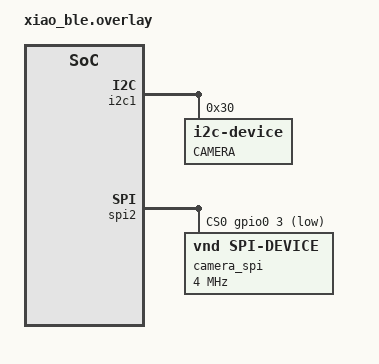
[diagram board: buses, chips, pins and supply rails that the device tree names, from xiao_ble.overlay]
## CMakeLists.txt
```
# SPDX-License-Identifier: Apache-2.0

cmake_minimum_required(VERSION 3.20.0)
find_package(Zephyr REQUIRED HINTS $ENV{ZEPHYR_BASE})
project(nrf52840_nordic)
enable_language(C ASM)

target_sources(app PRIVATE
    src/main.c
    src/transport.c
    src/mic.c
    src/led.c
    src/audio.c
    src/codec.c
    src/camera.c
    src/controls.c
    src/battery.c
    src/settings.c
    src/opus-1.2.1/A2NLSF.c
    src/opus-1.2.1/CNG.c
    src/opus-1.2.1/HP_variable_cutoff.c
    src/opus-1.2.1/LPC_analysis_filter.c
    src/opus-1.2.1/LPC_fit.c
    src/opus-1.2.1/LPC_inv_pred_gain.c
    src/opus-1.2.1/LP_variable_cutoff.c
    src/opus-1.2.1/LTP_analysis_filter_FIX.c
    src/opus-1.2.1/LTP_scale_ctrl_FIX.c
    src/opus-1.2.1/NLSF2A.c
    src/opus-1.2.1/NLSF_VQ.c
    src/opus-1.2.1/NLSF_VQ_weights_laroia.c
    src/opus-1.2.1/NLSF_decode.c
    src/opus-1.2.1/NLSF_del_dec_quant.c
    src/opus-1.2.1/NLSF_encode.c
    src/opus-1.2.1/NLSF_stabilize.c
    src/opus-1.2.1/NLSF_unpack.c
    src/opus-1.2.1/NSQ.c
    src/opus-1.2.1/NSQ_del_dec.c
    src/opus-1.2.1/PLC.c
    src/opus-1.2.1/VAD.c
    src/opus-1.2.1/VQ_WMat_EC.c
    src/opus-1.2.1/ana_filt_bank_1.c
    src/opus-1.2.1/analysis.c
    src/opus-1.2.1/apply_sine_window_FIX.c
    src/opus-1.2.1/autocorr_FIX.c
    src/opus-1.2.1/bands.c
    src/opus-1.2.1/biquad_alt.c
    src/opus-1.2.1/burg_modified_FIX.c
    src/opus-1.2.1/bwexpander.c
    src/opus-1.2.1/bwexpander_32.c
    src/opus-1.2.1/celt.c
    src/opus-1.2.1/celt_decoder.c
    src/opus-1.2.1/celt_encoder.c
    src/opus-1.2.1/celt_lpc.c
    src/opus-1.2.1/arm/celt_pitch_xcorr_arm_gcc.s
    src/opus-1.2.1/check_control_input.c
    src/opus-1.2.1/code_signs.c
    src/opus-1.2.1/control_SNR.c
    src/opus-1.2.1/control_audio_bandwidth.c
    src/opus-1.2.1/control_codec.c
    src/opus-1.2.1/corrMatrix_FIX.c
    src/opus-1.2.1/cwrs.c
    src/opus-1.2.1/debug.c
    src/opus-1.2.1/dec_API.c
    src/opus-1.2.1/decode_core.c
    src/opus-1.2.1/decode_frame.c
    src/opus-1.2.1/decode_indices.c
    src/opus-1.2.1/decode_parameters.c
    src/opus-1.2.1/decode_pitch.c
    src/opus-1.2.1/decode_pulses.c
    src/opus-1.2.1/decoder_set_fs.c
    src/opus-1.2.1/enc_API.c
    src/opus-1.2.1/encode_frame_FIX.c
    src/opus-1.2.1/encode_indices.c
    src/opus-1.2.1/encode_pulses.c
    src/opus-1.2.1/entcode.c
    src/opus-1.2.1/entdec.c
    src/opus-1.2.1/entenc.c
    src/opus-1.2.1/find_LPC_FIX.c
    src/opus-1.2.1/find_LTP_FIX.c
    src/opus-1.2.1/find_pitch_lags_FIX.c
    src/opus-1.2.1/find_pred_coefs_FIX.c
    src/opus-1.2.1/gain_quant.c
    src/opus-1.2.1/init_decoder.c
    src/opus-1.2.1/init_encoder.c
    src/opus-1.2.1/inner_prod_aligned.c
    src/opus-1.2.1/interpolate.c
    src/opus-1.2.1/k2a_FIX.c
    src/opus-1.2.1/k2a_Q16_FIX.c
    src/opus-1.2.1/kiss_fft.c
    src/opus-1.2.1/laplace.c
    src/opus-1.2.1/lin2log.c
    src/opus-1.2.1/log2lin.c
    src/opus-1.2.1/mathops.c
    src/opus-1.2.1/mdct.c
    src/opus-1.2.1/mlp.c
    src/opus-1.2.1/mlp_data.c
    src/opus-1.2.1/modes.c
    src/opus-1.2.1/noise_shape_analysis_FIX.c
    src/opus-1.2.1/opus.c
    src/opus-1.2.1/opus_decoder.c
    src/opus-1.2.1/opus_encoder.c
    src/opus-1.2.1/opus_multistream.c
    src/opus-1.2.1/opus_multistream_decoder.c
    src/opus-1.2.1/opus_multistream_encoder.c
    src/opus-1.2.1/pitch.c
    src/opus-1.2.1/pitch_analysis_core_FIX.c
    src/opus-1.2.1/pitch_est_tables.c
    src/opus-1.2.1/process_NLSFs.c
    src/opus-1.2.1/process_gains_FIX.c
    src/opus-1.2.1/quant_LTP_gains.c
    src/opus-1.2.1/quant_bands.c
    src/opus-1.2.1/rate.c
    src/opus-1.2.1/regularize_correlations_FIX.c
    src/opus-1.2.1/repacketizer.c
    src/opus-1.2.1/resampler.c
    src/opus-1.2.1/resampler_down2.c
    src/opus-1.2.1/resampler_down2_3.c
    src/opus-1.2.1/resampler_private_AR2.c
    src/opus-1.2.1/resampler_private_IIR_FIR.c
    src/opus-1.2.1/resampler_private_down_FIR.c
    src/opus-1.2.1/resampler_private_up2_HQ.c
    src/opus-1.2.1/resampler_rom.c
    src/opus-1.2.1/residual_energy16_FIX.c
    src/opus-1.2.1/residual_energy_FIX.c
    src/opus-1.2.1/schur64_FIX.c
    src/opus-1.2.1/schur_FIX.c
    src/opus-1.2.1/shell_coder.c
    src/opus-1.2.1/sigm_Q15.c
    src/opus-1.2.1/sort.c
    src/opus-1.2.1/stereo_LR_to_MS.c
    src/opus-1.2.1/stereo_MS_to_LR.c
    src/opus-1.2.1/stereo_decode_pred.c
    src/opus-1.2.1/stereo_encode_pred.c
    src/opus-1.2.1/stereo_find_predictor.c
    src/opus-1.2.1/stereo_quant_pred.c
    src/opus-1.2.1/sum_sqr_shift.c
    src/opus-1.2.1/table_LSF_cos.c
    src/opus-1.2.1/tables_LTP.c
    src/opus-1.2.1/tables_NLSF_CB_NB_MB.c
    src/opus-1.2.1/tables_NLSF_CB_WB.c
    src/opus-1.2.1/tables_gain.c
    src/opus-1.2.1/tables_other.c
    src/opus-1.2.1/tables_pitch_lag.c
    src/opus-1.2.1/tables_pulses_per_block.c
    src/opus-1.2.1/vector_ops_FIX.c
    src/opus-1.2.1/vq.c
    src/opus-1.2.1/warped_autocorrelation_FIX.c
    src/opus-1.2.1/arm/celt_pitch_xcorr_arm_gcc.s
)

set(CMAKE_C_FLAGS "${CMAKE_C_FLAGS} -DARM_MATH_CM4")
# set(CMAKE_C_FLAGS "${CMAKE_C_FLAGS} -DVAR_ARRAYS")
set(CMAKE_C_FLAGS "${CMAKE_C_FLAGS} -DOPUS_ARM_ASM")
set(CMAKE_C_FLAGS "${CMAKE_C_FLAGS} -DOPUS_ARM_INLINE_ASM")
set(CMAKE_C_FLAGS "${CMAKE_C_FLAGS} -DOPUS_ARM_INLINE_EDSP")
set(CMAKE_C_FLAGS "${CMAKE_C_FLAGS} -DOPUS_ARM_INLINE_MEDIA")
set(CMAKE_C_FLAGS "${CMAKE_C_FLAGS} -DOPUS_ARM_MAY_HAVE_EDSP")
set(CMAKE_C_FLAGS "${CMAKE_C_FLAGS} -DOPUS_ARM_PRESUME_EDSP")
set(CMAKE_C_FLAGS "${CMAKE_C_FLAGS} -DOPUS_BUILD")
set(CMAKE_C_FLAGS "${CMAKE_C_FLAGS} -DUSE_ALLOCA")
set(CMAKE_C_FLAGS "${CMAKE_C_FLAGS} -DFIXED_POINT -DDISABLE_FLOAT_API")
set(CMAKE_C_FLAGS "${CMAKE_C_FLAGS} -DHAVE_CONFIG_H")
set(CMAKE_C_FLAGS "${CMAKE_C_FLAGS} -DHAVE_ALLOCA_H")
set(CMAKE_C_FLAGS "${CMAKE_C_FLAGS} -fsingle-precision-constant") # A lot of constants are written as doubles
set(CMAKE_C_FLAGS "${CMAKE_C_FLAGS} -DHAVE_LRINT -DHAVE_LRINTF")
```

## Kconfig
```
mainmenu "Bubble Firmware"

config BUBBLE_SOFT_BUTTON
    bool "Enable soft mute button"
    default y
    help
        Enable or disable soft mute button

source "Kconfig.zephyr"
```

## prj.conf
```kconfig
#
# Hardware settings
#

# Microphone
CONFIG_NRFX_PDM=y
CONFIG_ADC=y

# Watchdog
CONFIG_WATCHDOG=y
CONFIG_WDT_NRFX=y

# Storage
CONFIG_NVS=y
CONFIG_FLASH=y
CONFIG_FLASH_MAP=y
CONFIG_SETTINGS=y
CONFIG_SETTINGS_NVS=y
CONFIG_SETTINGS_RUNTIME=y

#
# Bluetooth settings
#

CONFIG_BT=y
CONFIG_BT_PERIPHERAL=y
CONFIG_BT_DEVICE_NAME="Bubble"
# This is important since our code assumes a single connection
CONFIG_BT_MAX_CONN=1
CONFIG_BT_MAX_PAIRED=1
CONFIG_BT_DEVICE_APPEARANCE=22
CONFIG_BT_GATT_DYNAMIC_DB=y

# Pairing
# CONFIG_BT_SMP=y

# Coded PHY (long range) doesnt work with Apple
# CONFIG_BT_CTLR_PHY_CODED=y
# CONFIG_BT_CTLR_CONN_PARAM_REQ=y

# Alternative BLE implementation
# CONFIG_BT_LL_SW_SPLIT=y

# MOAR POWER
CONFIG_BT_CTLR_TX_PWR_ANTENNA=8
CONFIG_BT_PHY_UPDATE=y

# Large packets
CONFIG_BT_L2CAP_TX_MTU=498
CONFIG_BT_L2CAP_TX_BUF_COUNT=10
CONFIG_BT_CONN_TX_MAX=30
CONFIG_BT_BUF_ACL_RX_SIZE=2048
CONFIG_BT_BUF_ACL_TX_SIZE=2048
CONFIG_BT_CTLR_DATA_LENGTH_MAX=251
CONFIG_BT_USER_DATA_LEN_UPDATE=y
CONFIG_BT_AUTO_DATA_LEN_UPDATE=y
CONFIG_BT_USER_PHY_UPDATE=y
CONFIG_BT_AUTO_PHY_UPDATE=y
CONFIG_BT_RX_STACK_SIZE=4096

# Codecs (not implemented)
# CONFIG_LIBLC3=y

# Camera
# CONFIG_I2C=y
# CONFIG_SPI=y

# Debug
# CONFIG_DEBUG=y
CONFIG_ASSERT=y # DO NOT DISABLE - will cause hard fault
# CONFIG_LOG=y
# CONFIG_LOG_PRINTK=y
# CONFIG_LOG_BUFFER_SIZE=4096
# CONFIG_LOG_PROCESS_THREAD_STACK_SIZE=4096
# CONFIG_LOG_MODE_IMMEDIATE=y

# Log Levels
# CONFIG_BT_DEBUG_LOG=y
# CONFIG_BT_L2CAP_LOG_LEVEL_DBG=y
# CONFIG_BT_LOG_LEVEL_DBG=y

# CONFIG_LOG_PROCESS_THREAD_STACK_SIZE=4096
# CONFIG_BT_CTLR_RX_PRIO_STACK_SIZE=4096
# CONFIG_BT_DEBUG_LOG=y
# CONFIG_LOG_BUFFER_SIZE=32000
# CONFIG_LOG_OVERRIDE_LEVEL=4
# CONFIG_LOG_PROCESS_THREAD_STACK_SIZE=4096
# CONFIG_BT_RX_STACK_SIZE=4096
# CONFIG_BT_CTLR_RX_PRIO_STACK_SIZE=4096

# RTT
# CONFIG_UART_CONSOLE=n
# CONFIG_SEGGER_RTT_BUFFER_SIZE_UP=2048
# CONFIG_RTT_CONSOLE=y
# CONFIG_LOG_BACKEND_RTT=y
```

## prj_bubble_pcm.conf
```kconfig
CONFIG_BT_DEVICE_NAME="Bubble"
CONFIG_BUBBLE_SOFT_BUTTON=y
```

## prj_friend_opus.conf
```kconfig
CONFIG_BT_DEVICE_NAME="Friend"
CONFIG_BUBBLE_SOFT_BUTTON=n
```

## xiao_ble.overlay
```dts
// To get started, press Ctrl+Space (or Option+Esc) to bring up the completion menu and view the available nodes.

// You can also use the buttons in the sidebar to perform actions on nodes.
// Actions currently available include:

// * Enabling / disabling the node
// * Adding the bus to a bus
// * Removing the node
// * Connecting ADC channels

// For more help, browse the DeviceTree documentation at https: //docs.zephyrproject.org/latest/guides/dts/index.html
// You can also visit the nRF DeviceTree extension documentation at https: //nrfconnect.github.io/vscode-nrf-connect/devicetree/nrfdevicetree.html
&i2c1 {
    camera: camera@30 {
        compatible = "i2c-device";
        reg = <0x30>;
        label = "CAMERA";
    };
};

&spi2 {
    cs-gpios = <&gpio0 3 GPIO_ACTIVE_LOW>, <&gpio0 28 GPIO_ACTIVE_LOW>;

    camera_spi: camera_spi_device@0 {
        status = "okay";
        compatible = "vnd,spi-device"; // https://devzone.nordicsemi.com/f/nordic-q-a/108613/yet-another-zephyr-devicetree-problem-this-time-with-spi-spi-max-frequency-amongst-others
        reg = <0>;
        spi-max-frequency = <4000000>;
    };
};
```

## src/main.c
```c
#include <zephyr/kernel.h>
#include <zephyr/drivers/watchdog.h>
#include <zephyr/drivers/gpio.h>
#include "transport.h"
#include "mic.h"
#include "utils.h"
#include "led.h"
#include "config.h"
#include "audio.h"
#include "codec.h"
#include "camera.h"
#include "controls.h"
#include "battery.h"
#include "settings.h"

// State
bool is_recording = false;
bool is_connected = false;
bool is_charging = false;
void refresh_state_indication();

//
// Transport callbacks
//

static void transport_subscribed()
{
	is_connected = true;
#ifndef ENABLE_BUTTON
	is_recording = true;
	mic_resume();
#endif
	refresh_state_indication();
}

static void transport_unsubscribed()
{
	is_connected = false;
#ifndef ENABLE_BUTTON
	is_recording = false;
	mic_pause();
#endif
	refresh_state_indication();
}

static struct transport_cb transport_callbacks = {
	.subscribed = transport_subscribed,
	.unsubscribed = transport_unsubscribed,
};

//
// Button
//

#ifdef ENABLE_BUTTON
static void on_button_pressed()
{
	is_recording = !is_recording;
	set_allowed(is_recording);
	settings_write_enable(is_recording);
	if (is_recording)
	{
		mic_resume();
	}
	else
	{
		mic_pause();
	}
	refresh_state_indication();
}
#endif

//
// Audio Pipeline
//

static void codec_handler(uint8_t *data, size_t len)
{
	broadcast_audio_packets(data, len); // Errors are logged inside
}

static void mic_handler(int16_t *buffer)
{
	codec_receive_pcm(buffer, MIC_BUFFER_SAMPLES); // Errors are logged inside
}

//
// LED indication
//

void refresh_state_indication()
{
	// Recording and connected state - BLUE
	if (is_recording && is_connected)
	{
		set_led_red(false);
		set_led_green(false);
		set_led_blue(true);
		return;
	}

	// Recording but lost connection - RED
	if (is_recording && !is_connected)
	{
		set_led_red(true);
		set_led_green(false);
		set_led_blue(false);
		return;
	}

	// Not recording, but charging - WHITE
	if (is_charging)
	{
		set_led_red(true);
		set_led_green(true);
		set_led_blue(true);
		return;
	}

	// Not recording - OFF
	set_led_red(false);
	set_led_green(false);
	set_led_blue(false);
}

//
// Main
//

int main(void)
{
	// Start watchdog
	int err;
	struct wdt_timeout_cfg wdt_config;
	const struct device *wdt_dev = DEVICE_DT_GET(DT_NODELABEL(wdt));
	wdt_config.flags = WDT_FLAG_RESET_SOC;
	wdt_config.window.min = 0;
	wdt_config.window.max = WDT_TIMEOUT_MS;
	wdt_config.callback = NULL; // Set to NULL to cause a system reset
	ASSERT_OK(wdt_install_timeout(wdt_dev, &wdt_config));
	ASSERT_OK(wdt_setup(wdt_dev, WDT_OPT_PAUSE_HALTED_BY_DBG));

	// Led start
	ASSERT_OK(led_start());

	// Settings start
	ASSERT_OK(settings_start());
#ifdef ENABLE_BUTTON
	is_recording = settings_read_enable();
#endif
	ASSERT_OK(wdt_feed(wdt_dev, 0));

	// Battery start
	ASSERT_OK(battery_start());
	ASSERT_OK(wdt_feed(wdt_dev, 0));

	// Camera start
#ifdef ENABLE_CAMERA
	ASSERT_OK(camera_start());
	ASSERT_OK(wdt_feed(wdt_dev, 0));
#endif

	// Transport start
	set_transport_callbacks(&transport_callbacks);
	ASSERT_OK(transport_start());
#ifndef ENABLE_BUTTON
	set_allowed(true);
#endif
	ASSERT_OK(wdt_feed(wdt_dev, 0));

	// Controls
#ifdef ENABLE_BUTTON
	set_button_handler(on_button_pressed);
	ASSERT_OK(start_controls());
#endif
	ASSERT_OK(wdt_feed(wdt_dev, 0));

	// Codec start
	set_codec_callback(codec_handler);
	ASSERT_OK(codec_start());
	ASSERT_OK(wdt_feed(wdt_dev, 0));

	// Mic start
	set_mic_callback(mic_handler);
	ASSERT_OK(mic_start());
#ifdef ENABLE_BUTTON
	if (is_recording)
	{
		mic_resume();
	}
#endif
	ASSERT_OK(wdt_feed(wdt_dev, 0));

	// Set LED
	is_charging = is_battery_charging();
	refresh_state_indication();
	ASSERT_OK(wdt_feed(wdt_dev, 0));

	// Main loop
	while (1)
	{
		// Wait wdt
		k_msleep(WDT_FEED_MS);

		// Watchdog
		ASSERT_OK(wdt_feed(wdt_dev, 0));

		// Update battery state
		bool charging = is_battery_charging();
		if (charging != is_charging)
		{
			is_charging = charging;
			refresh_state_indication();
		}
	}

	// Unreachable
	return 0;
}
```

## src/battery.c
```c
#include <zephyr/kernel.h>
#include <zephyr/drivers/gpio.h>
#include <zephyr/drivers/adc.h>
#include <zephyr/bluetooth/services/bas.h>
#import "battery.h"
#import "utils.h"

#define GPIO_BATTERY_CHARGING_STATUS 17
#define GPIO_BATTERY_CHARGE_SPEED 13
#define GPIO_BATTERY_READ_ENABLE 14

// ADC
static const struct device *adc_battery_dev = DEVICE_DT_GET(DT_NODELABEL(adc));
#define ADC_TOTAL_SAMPLES 10 // Change this to a higher number for better averages
int16_t sample_buffer[ADC_TOTAL_SAMPLES];
#define ADC_RESOLUTION 12
#define ADC_CHANNEL 7
#define ADC_PORT SAADC_CH_PSELP_PSELP_AnalogInput7 // AIN7
#define ADC_REFERENCE ADC_REF_INTERNAL             // 0.6V
#define ADC_GAIN ADC_GAIN_1_6                      // ADC REFERENCE * 6 = 3.6V
struct adc_channel_cfg channel_7_cfg = {
    .gain = ADC_GAIN,
    .reference = ADC_REFERENCE,
    .acquisition_time = ADC_ACQ_TIME_DEFAULT,
    .channel_id = ADC_CHANNEL,
    .input_positive = ADC_PORT};
static struct adc_sequence_options options = {
    .extra_samplings = ADC_TOTAL_SAMPLES - 1,
    .interval_us = 500, // Interval between each sample
};
struct adc_sequence sequence = {
    .options = &options,
    .channels = BIT(ADC_CHANNEL),
    .buffer = sample_buffer,
    .buffer_size = sizeof(sample_buffer),
    .resolution = ADC_RESOLUTION,
};

// Battery spec
typedef struct
{
    uint16_t voltage;
    uint8_t percentage;
} BatteryState;
#define BATTERY_STATES_COUNT 12
BatteryState battery_states[BATTERY_STATES_COUNT] = {
    {4185, 100},
    {4165, 99},
    {4090, 91},
    {4030, 78},
    {3890, 63},
    {3830, 53},
    {3680, 36},
    {3660, 35},
    {3480, 14},
    {3420, 11},
    {3150, 1}, // 3240
    {0000, 0}  // Below safe level
};

// Implementation

bool read_battery_charging()
{
    return gpio_pin_get(gpio0_port, GPIO_BATTERY_CHARGING_STATUS) == 1;
}

int read_battery_voltage()
{

    // Voltage divider circuit (Should tune R1 in software if possible)
    const uint16_t R1 = 1037; // Originally 1M ohm, calibrated after measuring actual voltage values. Can happen due to resistor tolerances, temperature ect..
    const uint16_t R2 = 510;  // 510K ohm

    // We need to stop charging to get a reading
    bool was_charging = read_battery_charging();
    if (was_charging)
    {
        ASSERT_OK(gpio_pin_configure(gpio0_port, GPIO_BATTERY_CHARGE_SPEED, GPIO_OUTPUT | GPIO_ACTIVE_HIGH));
        ASSERT_OK(gpio_pin_set(gpio0_port, GPIO_BATTERY_CHARGE_SPEED, 1));
    }

    // Read ADC
    ASSERT_OK(adc_read(adc_battery_dev, &sequence));

    // Average samples
    int adc_mv = 0;
    for (uint8_t sample = 0; sample < ADC_TOTAL_SAMPLES; sample++)
    {
        adc_mv += sample_buffer[sample]; // ADC value, not millivolt yet.
    }
    adc_mv /= ADC_TOTAL_SAMPLES;

    // Convert to millivolts
    uint16_t adc_vref = adc_ref_internal(adc_battery_dev);
    ASSERT_OK(adc_raw_to_millivolts(adc_vref, ADC_GAIN, ADC_RESOLUTION, &adc_mv));

    int output = adc_mv * ((R1 + R2) / R2);

    // Enable 50ma charging
    if (was_charging)
    {
        ASSERT_OK(gpio_pin_configure(gpio0_port, GPIO_BATTERY_CHARGE_SPEED, GPIO_INPUT));
    }

    return output;
}

int battery_milivolt_to_percent(uint16_t battery_millivolt)
{

    // Ensure voltage is within bounds
    if (battery_millivolt > battery_states[0].voltage)
        return 100;
    if (battery_millivolt < battery_states[BATTERY_STATES_COUNT - 1].voltage)
        return 0;

    for (uint16_t i = 0; i < BATTERY_STATES_COUNT - 1; i++)
    {
        // Find the two points battery_millivolt is between
        if (battery_states[i].voltage >= battery_millivolt && battery_millivolt >= battery_states[i + 1].voltage)
        {
            // Linear interpolation
            return battery_states[i].percentage +
                   ((float)(battery_millivolt - battery_states[i].voltage) *
                    ((float)(battery_states[i + 1].percentage - battery_states[i].percentage) /
                     (float)(battery_states[i + 1].voltage - battery_states[i].voltage)));
        }
    }

    return -ESPIPE;
}

//
// Worker
//

bool battery_status_charge = false;
int battery_voltage = 0;
int battery_percentage = 0;
int voltage_counter = 0;
void refresh_worker(struct k_work *work);
K_WORK_DELAYABLE_DEFINE(refresh_work, refresh_worker);

void refresh_worker(struct k_work *work)
{
    // Update battery status
    battery_status_charge = read_battery_charging();

    // Update battery voltage every 10 seconds
    if (voltage_counter % 10 == 0)
    {
        battery_voltage = read_battery_voltage();
        battery_percentage = battery_milivolt_to_percent(battery_voltage);
        bt_bas_set_battery_level(battery_percentage);
        voltage_counter = 0;
    }
    voltage_counter++;

    // Submit the work item again with a delay
    k_work_reschedule(&refresh_work, K_MSEC(1000)); // Delay of 1 second
}

//
// Public
//

int battery_start()
{

    // Configure ADC
    ASSERT_TRUE(device_is_ready(adc_battery_dev));
    ASSERT_OK(adc_channel_setup(adc_battery_dev, &channel_7_cfg));

    // Configure GPIO pins
    ASSERT_OK(gpio_pin_configure(gpio0_port, GPIO_BATTERY_CHARGING_STATUS, GPIO_INPUT | GPIO_ACTIVE_LOW | GPIO_PULL_UP));
    ASSERT_OK(gpio_pin_configure(gpio0_port, GPIO_BATTERY_READ_ENABLE, GPIO_OUTPUT | GPIO_ACTIVE_LOW));

    // ALlow batterty readings
    ASSERT_OK(gpio_pin_set(gpio0_port, GPIO_BATTERY_READ_ENABLE, 1));

    // Set 50ma charge current
    ASSERT_OK(gpio_pin_configure(gpio0_port, GPIO_BATTERY_CHARGE_SPEED, GPIO_INPUT));

    // Load init state
    battery_status_charge = read_battery_charging();
    battery_voltage = read_battery_voltage();
    battery_percentage = battery_milivolt_to_percent(battery_voltage);
    bt_bas_set_battery_level(battery_percentage);

    // Start worker
    k_work_schedule(&refresh_work, K_MSEC(1000));

    return 0;
}

bool is_battery_charging()
{
    return battery_status_charge;
}

int get_battery_voltage()
{
    return battery_voltage;
}

int get_battery_percentage()
{
    return battery_percentage;
}
```

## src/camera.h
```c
#ifndef CAMERA_H
#define CAMERA_H
#include <zephyr/kernel.h>
#include <zephyr/device.h>
#include <zephyr/drivers/spi.h>
#include <zephyr/drivers/i2c.h>

static const struct i2c_dt_spec camera_i2c_dev = I2C_DT_SPEC_GET(DT_NODELABEL(camera));
static const struct spi_dt_spec camera_spi_dev = SPI_DT_SPEC_GET(DT_NODELABEL(camera_spi), SPI_WORD_SET(8) | SPI_TRANSFER_MSB, 1);
static const struct device *gpio0_port = DEVICE_DT_GET(DT_NODELABEL(gpio0));
static const struct device *gpio1_port = DEVICE_DT_GET(DT_NODELABEL(gpio1));
// static const struct gpio_dt_spec camera_chip_select = GPIO_DT_SPEC_GET(DT_NODELABEL(camera_cs), gpios);

int camera_start(void);

int take_photo(void);
#endif
```

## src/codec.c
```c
#include <zephyr/sys/ring_buffer.h>
#include "codec.h"
#include "audio.h"
#include "config.h"
#include "utils.h"
#ifdef CODEC_OPUS
#include "opus-1.2.1/opus.h"
#endif

//
// Output
//

static volatile codec_callback _callback = NULL;

void set_codec_callback(codec_callback callback)
{
    _callback = callback;
}

//
// Input
//

uint8_t codec_ring_buffer_data[AUDIO_BUFFER_SAMPLES * 2]; // 2 bytes per sample
struct ring_buf codec_ring_buf;

int codec_receive_pcm(int16_t *data, size_t len)
{
    int written = ring_buf_put(&codec_ring_buf, (uint8_t *)data, len * 2);
    if (written != len * 2)
    {
        // printk("Failed to write %d bytes to codec ring buffer\n", len * 2);
        return -1;
    }
    return 0;
}

//
// Thread
//

int16_t codec_input_samples[CODEC_PACKAGE_SAMPLES];
uint8_t codec_output_bytes[CODEC_OUTPUT_MAX_BYTES];
K_THREAD_STACK_DEFINE(codec_stack, 32000);
static struct k_thread codec_thread;
uint16_t execute_codec();

#if CODEC_OPUS
#if (CONFIG_OPUS_MODE == CONFIG_OPUS_MODE_CELT)
#define OPUS_ENCODER_SIZE 7180
#endif
#if (CONFIG_OPUS_MODE == CONFIG_OPUS_MODE_HYBRID)
#define OPUS_ENCODER_SIZE 10916
#endif
__ALIGN(4)
static uint8_t m_opus_encoder[OPUS_ENCODER_SIZE];
static OpusEncoder *const m_opus_state = (OpusEncoder *)m_opus_encoder;
#endif

void codec_entry()
{
    uint16_t output_size;
    while (1)
    {

        // Check if we have enough data
        if (ring_buf_size_get(&codec_ring_buf) < CODEC_PACKAGE_SAMPLES * 2)
        {
            k_sleep(K_MSEC(10));
            continue;
        }

        // Read package
        ring_buf_get(&codec_ring_buf, (uint8_t *)codec_input_samples, CODEC_PACKAGE_SAMPLES * 2);

        // Run Codec
        output_size = execute_codec();

        // Notify
        if (_callback)
        {
            _callback(codec_output_bytes, output_size);
        }

        // Yield
        k_yield();
    }
}

int codec_start()
{
    
// OPUS
#if CODEC_OPUS
    ASSERT_TRUE(opus_encoder_get_size(1) == sizeof(m_opus_encoder));
    ASSERT_TRUE(opus_encoder_init(m_opus_state, 16000, 1, CODEC_OPUS_APPLICATION) == OPUS_OK);
    ASSERT_TRUE(opus_encoder_ctl(m_opus_state, OPUS_SET_BITRATE(CODEC_OPUS_BITRATE)) == OPUS_OK);
    ASSERT_TRUE(opus_encoder_ctl(m_opus_state, OPUS_SET_VBR(CODEC_OPUS_VBR)) == OPUS_OK);
    ASSERT_TRUE(opus_encoder_ctl(m_opus_state, OPUS_SET_VBR_CONSTRAINT(0)) == OPUS_OK);
    ASSERT_TRUE(opus_encoder_ctl(m_opus_state, OPUS_SET_COMPLEXITY(CODEC_OPUS_COMPLEXITY)) == OPUS_OK);
    ASSERT_TRUE(opus_encoder_ctl(m_opus_state, OPUS_SET_SIGNAL(OPUS_SIGNAL_VOICE)) == OPUS_OK);
    ASSERT_TRUE(opus_encoder_ctl(m_opus_state, OPUS_SET_LSB_DEPTH(16)) == OPUS_OK);
    ASSERT_TRUE(opus_encoder_ctl(m_opus_state, OPUS_SET_DTX(0)) == OPUS_OK);
    ASSERT_TRUE(opus_encoder_ctl(m_opus_state, OPUS_SET_INBAND_FEC(0)) == OPUS_OK);
    ASSERT_TRUE(opus_encoder_ctl(m_opus_state, OPUS_SET_PACKET_LOSS_PERC(0)) == OPUS_OK);
#endif

    // Thread
    ring_buf_init(&codec_ring_buf, sizeof(codec_ring_buffer_data), codec_ring_buffer_data);
    k_thread_create(&codec_thread, codec_stack, K_THREAD_STACK_SIZEOF(codec_stack), (k_thread_entry_t)codec_entry, NULL, NULL, NULL, K_PRIO_PREEMPT(4), 0, K_NO_WAIT);

    // Success
    return 0;
}

//
// MU-Law codec
//

#if CODEC_MU_LAW

uint16_t execute_codec()
{
    for (int i = 0; i < CODEC_PACKAGE_SAMPLES / CODEC_DIVIDER; i++)
    {
        codec_output_bytes[i] = linear2ulaw(codec_input_samples[i * CODEC_DIVIDER]);
    }
    return CODEC_PACKAGE_SAMPLES / CODEC_DIVIDER;
}

#endif

//
// PCM codec
//

#if CODEC_PCM

uint16_t execute_codec()
{
    for (int i = 0; i < CODEC_PACKAGE_SAMPLES / CODEC_DIVIDER; i++)
    {
        codec_output_bytes[i * 2] = codec_input_samples[i * CODEC_DIVIDER] & 0xFF;
        codec_output_bytes[i * 2 + 1] = (codec_input_samples[i * CODEC_DIVIDER] >> 8) & 0xFF;
    }
    return (CODEC_PACKAGE_SAMPLES / CODEC_DIVIDER) * 2;
}
#endif

//
// Opus codec
//

#if CODEC_OPUS

uint16_t execute_codec()
{
    opus_int32 size = opus_encode(m_opus_state, codec_input_samples, CODEC_PACKAGE_SAMPLES, codec_output_bytes, sizeof(codec_output_bytes));
    if (size < 0)
    {
        printk("Opus encoding failed: %d\n", size);
        return 0;
    }
    // printk("Opus encoding success: %i\n", size);
    return size;
}

#endif
```

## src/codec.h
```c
#pragma once
#include <zephyr/kernel.h>

void codec_receive_pcm(int16_t *data, size_t len);

int codec_start();
```

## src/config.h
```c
#include <haly/nrfy_gpio.h>

// Watchdog
#define WDT_TIMEOUT_MS 1000 // I want it to restart ASAP
#define WDT_FEED_MS 200

// #define SAMPLE_RATE 16000
#define MIC_GAIN 80
#define MIC_IRC_PRIORITY 7
#define MIC_BUFFER_SAMPLES 1600    // 100ms
#define AUDIO_BUFFER_SAMPLES 16000 // 1s
#define NETWORK_RING_BUF_SIZE 128   // number of frames * CODEC_OUTPUT_MAX_BYTES
#define MINIMAL_PACKET_SIZE 100    // Less than that doesn't make sence to send anything at all

// PIN definitions
// https://github.com/Seeed-Studio/Adafruit_nRF52_Arduino/blob/5aa3573913449410fd60f76b75673c53855ff2ec/variants/Seeed_XIAO_nRF52840_Sense/variant.cpp#L34
#define PDM_DIN_PIN NRF_GPIO_PIN_MAP(0, 16)
#define PDM_CLK_PIN NRF_GPIO_PIN_MAP(1, 0)
#define PDM_PWR_PIN NRF_GPIO_PIN_MAP(1, 10)

// Camera
// #define ENABLE_CAMERA 1

// Button
#define ENABLE_BUTTON 1

// Codecs
// #define CODEC_PCM 1
// #define CODEC_MU_LAW 1
#define CODEC_OPUS 1

// Codec packages
#if CODEC_PCM | CODEC_MU_LAW
#define CODEC_DIVIDER 2           // 1 or 2
#define CODEC_PACKAGE_SAMPLES 160 // 10ms
#if CODEC_PCM
#define CODEC_OUTPUT_MAX_BYTES CODEC_PACKAGE_SAMPLES * 2
#else
#define CODEC_OUTPUT_MAX_BYTES CODEC_PACKAGE_SAMPLES
#endif
#endif

#if CODEC_OPUS
#define CODEC_PACKAGE_SAMPLES 160
#define CODEC_OUTPUT_MAX_BYTES CODEC_PACKAGE_SAMPLES * 2 // Let's assume that 16bit is enough
#define CODEC_OPUS_APPLICATION OPUS_APPLICATION_RESTRICTED_LOWDELAY
#define CODEC_OPUS_BITRATE 32000
#define CODEC_OPUS_VBR 1 // Or 1
#define CODEC_OPUS_COMPLEXITY 3
#endif
#define CONFIG_OPUS_MODE CONFIG_OPUS_MODE_CELT

// Codec IDs
#ifdef CODEC_PCM
#if CODEC_DIVIDER == 1
#define CODEC_ID 0
#elif CODEC_DIVIDER == 2
#define CODEC_ID 1
#endif
#endif

#ifdef CODEC_MU_LAW
#if CODEC_DIVIDER == 1
#define CODEC_ID 10
#elif CODEC_DIVIDER == 2
#define CODEC_ID 11
#endif
#endif

#ifdef CODEC_OPUS
#define CODEC_ID 20
#endif

// Logs
// #define LOG_DISCARDED
```

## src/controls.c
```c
#include <zephyr/kernel.h>
#include "controls.h"
#include "utils.h"

static button_handler button_cb = NULL;
static struct gpio_callback button_cb_data;

static void cooldown_expired(struct k_work *work)
{
    ARG_UNUSED(work);
    int val = gpio_pin_get_dt(&button);
    if (val && button_cb)
    {
        button_cb();
    }
}

static K_WORK_DELAYABLE_DEFINE(cooldown_work, cooldown_expired);

void button_pressed(const struct device *dev, struct gpio_callback *cb, uint32_t pins)
{
    k_work_reschedule(&cooldown_work, K_MSEC(15));
}

int start_controls()
{
    ASSERT_OK(gpio_is_ready_dt(&button));
    ASSERT_OK(gpio_pin_configure_dt(&button, GPIO_INPUT));
    gpio_init_callback(&button_cb_data, button_pressed, BIT(button.pin));
    ASSERT_OK(gpio_add_callback(button.port, &button_cb_data));
    ASSERT_OK(gpio_pin_interrupt_configure_dt(&button, GPIO_INT_EDGE_TO_ACTIVE));

    return 0;
}

void set_button_handler(button_handler _handler)
{
    button_cb = _handler;
}
```

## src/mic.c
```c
#include <zephyr/kernel.h>
#include <zephyr/device.h>
#include <zephyr/drivers/gpio.h>
#include <haly/nrfy_gpio.h>
#include "nrfx_clock.h"
#include "nrfx_pdm.h"
#include "config.h"
#include "mic.h"
#include "utils.h"
#include "led.h"

//
// Port of this code: https://github.com/Seeed-Studio/Seeed_Arduino_Mic/blob/master/src/hardware/nrf52840_adc.cpp
//

static int16_t _buffer_0[MIC_BUFFER_SAMPLES];
static int16_t _buffer_1[MIC_BUFFER_SAMPLES];
static volatile uint8_t _next_buffer_index = 0;
static volatile mix_handler _callback = NULL;

static void pdm_irq_handler(nrfx_pdm_evt_t const *event)
{
    // Ignore error (how to handle?)
    if (event->error)
    {
        printk("PDM error\n");
        return;
    }

    // Assign buffer
    if (event->buffer_requested)
    {
        // printk("Buffer requested\n");
        if (_next_buffer_index == 0)
        {
            nrfx_pdm_buffer_set(_buffer_0, MIC_BUFFER_SAMPLES);
            _next_buffer_index = 1;
        }
        else
        {
            nrfx_pdm_buffer_set(_buffer_1, MIC_BUFFER_SAMPLES);
            _next_buffer_index = 0;
        }
    }

    // Release buffer
    if (event->buffer_released)
    {
        // printk("Buffer released\n");
        if (_callback)
        {
            _callback(event->buffer_released);
        }
    }
}

int mic_start()
{

    // Start the high frequency clock
    if (!nrf_clock_hf_is_running(NRF_CLOCK, NRF_CLOCK_HFCLK_HIGH_ACCURACY))
    {
        nrf_clock_task_trigger(NRF_CLOCK, NRF_CLOCK_TASK_HFCLKSTART);
    }

    // Configure PDM
    nrfx_pdm_config_t pdm_config = NRFX_PDM_DEFAULT_CONFIG(PDM_CLK_PIN, PDM_DIN_PIN);
    pdm_config.gain_l = MIC_GAIN;
    pdm_config.gain_r = MIC_GAIN;
    pdm_config.interrupt_priority = MIC_IRC_PRIORITY;
    pdm_config.clock_freq = NRF_PDM_FREQ_1280K;
    pdm_config.mode = NRF_PDM_MODE_MONO;
    pdm_config.edge = NRF_PDM_EDGE_LEFTFALLING;
    pdm_config.ratio = NRF_PDM_RATIO_64X;
    IRQ_DIRECT_CONNECT(PDM_IRQn, 5, nrfx_pdm_irq_handler, 0); // IMPORTANT!
    if (nrfx_pdm_init(&pdm_config, pdm_irq_handler) != NRFX_SUCCESS)
    {
        printk("Unable to initialize PDM\n");
        return -1;
    }

    // Power on Mic
    nrfy_gpio_cfg_output(PDM_PWR_PIN);
    nrfy_gpio_pin_set(PDM_PWR_PIN);

    // Start PDM
    if (nrfx_pdm_start() != NRFX_SUCCESS)
    {
        printk("Unable to start PDM\n");
        return -1;
    }

    printk("Microphone started\n");
    return 0;
}

void set_mic_callback(mix_handler callback) {
    _callback = callback;
}
```

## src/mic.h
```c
#pragma once

int mic_start();
```

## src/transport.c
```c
#include <zephyr/kernel.h>
#include <zephyr/logging/log.h>
#include <zephyr/sys/ring_buffer.h>
#include <zephyr/bluetooth/bluetooth.h>
#include <zephyr/bluetooth/uuid.h>
#include <zephyr/bluetooth/gatt.h>
#include <zephyr/bluetooth/l2cap.h>
#include <zephyr/bluetooth/services/bas.h>
#include <zephyr/sys/atomic.h>
#include "transport.h"
#include "config.h"
#include "utils.h"

//
// Internal
//

static uint8_t battery_level = 100U;
static bool battery_charging = false;
static bool is_allowed = false;
static uint16_t connected = 0;
static struct transport_cb *external_callbacks = NULL;
static struct bt_conn_cb _callback_references;
static ssize_t audio_characteristic_read(struct bt_conn *conn, const struct bt_gatt_attr *attr, void *buf, uint16_t len, uint16_t offset);
static ssize_t audio_characteristic_format_read(struct bt_conn *conn, const struct bt_gatt_attr *attr, void *buf, uint16_t len, uint16_t offset);
static ssize_t audio_characteristic_allowed_read(struct bt_conn *conn, const struct bt_gatt_attr *attr, void *buf, uint16_t len, uint16_t offset);
static ssize_t battery_characteristic_read(struct bt_conn *conn, const struct bt_gatt_attr *attr, void *buf, uint16_t len, uint16_t offset);
static void ccc_config_changed_handler(const struct bt_gatt_attr *attr, uint16_t value);
static void battery_ccc_config_changed_handler(const struct bt_gatt_attr *attr, uint16_t value);
static void mute_ccc_config_changed_handler(const struct bt_gatt_attr *attr, uint16_t value);

//
// Audio Service
//

static struct bt_uuid_128 audio_service_uuid = BT_UUID_INIT_128(BT_UUID_128_ENCODE(0x19B10000, 0xE8F2, 0x537E, 0x4F6C, 0xD104768A1214));
static struct bt_uuid_128 audio_characteristic_uuid = BT_UUID_INIT_128(BT_UUID_128_ENCODE(0x19B10001, 0xE8F2, 0x537E, 0x4F6C, 0xD104768A1214));
static struct bt_uuid_128 audio_characteristic_format_uuid = BT_UUID_INIT_128(BT_UUID_128_ENCODE(0x19B10002, 0xE8F2, 0x537E, 0x4F6C, 0xD104768A1214));
static struct bt_uuid_128 audio_characteristic_allow_uuid = BT_UUID_INIT_128(BT_UUID_128_ENCODE(0x19B10003, 0xE8F2, 0x537E, 0x4F6C, 0xD104768A1214));
static struct bt_uuid_128 audio_characteristic_battery = BT_UUID_INIT_128(BT_UUID_128_ENCODE(0x19B10004, 0xE8F2, 0x537E, 0x4F6C, 0xD104768A1214));
static struct bt_gatt_attr audio_attrs[] = {
    BT_GATT_PRIMARY_SERVICE(&audio_service_uuid),
    // Streaming
    BT_GATT_CHARACTERISTIC(&audio_characteristic_uuid.uuid, BT_GATT_CHRC_READ | BT_GATT_CHRC_NOTIFY, BT_GATT_PERM_READ, audio_characteristic_read, NULL, NULL),
    BT_GATT_CCC(ccc_config_changed_handler, BT_GATT_PERM_READ | BT_GATT_PERM_WRITE),
    // Format
    BT_GATT_CHARACTERISTIC(&audio_characteristic_format_uuid.uuid, BT_GATT_CHRC_READ, BT_GATT_PERM_READ, audio_characteristic_format_read, NULL, NULL),
    // Mute
    BT_GATT_CHARACTERISTIC(&audio_characteristic_allow_uuid.uuid, BT_GATT_CHRC_READ | BT_GATT_CHRC_NOTIFY, BT_GATT_PERM_READ, audio_characteristic_allowed_read, NULL, NULL),
    BT_GATT_CCC(mute_ccc_config_changed_handler, BT_GATT_PERM_READ | BT_GATT_PERM_WRITE)};
static struct bt_gatt_service audio_service = BT_GATT_SERVICE(audio_attrs);

//
// Battery Service
//

static const struct bt_gatt_cpf level_cpf = {
    .format = 0x04, /* uint8 */
    .exponent = 0x0,
    .unit = 0x27AD,        /* Percentage */
    .name_space = 0x01,    /* Bluetooth SIG */
    .description = 0x0106, /* "main" */
};

static struct bt_gatt_attr bas_attrs[] = {
    BT_GATT_PRIMARY_SERVICE(BT_UUID_BAS),
    BT_GATT_CHARACTERISTIC(BT_UUID_BAS_BATTERY_LEVEL,
                           BT_GATT_CHRC_READ | BT_GATT_CHRC_NOTIFY,
                           BT_GATT_PERM_READ, battery_characteristic_read, NULL,
                           &battery_level),
    BT_GATT_CCC(battery_ccc_config_changed_handler,
                BT_GATT_PERM_READ | BT_GATT_PERM_WRITE),
    BT_GATT_CPF(&level_cpf),
};
static struct bt_gatt_service bas_service = BT_GATT_SERVICE(bas_attrs);

//
// Advertisement data
//

static const struct bt_data bt_ad[] = {
    BT_DATA_BYTES(BT_DATA_FLAGS, (BT_LE_AD_GENERAL | BT_LE_AD_NO_BREDR)),
    BT_DATA(BT_DATA_NAME_COMPLETE, CONFIG_BT_DEVICE_NAME, sizeof(CONFIG_BT_DEVICE_NAME) - 1),
};

//
// Scan response data
//

static const struct bt_data bt_sd[] = {
    BT_DATA(BT_DATA_UUID128_ALL, audio_service_uuid.val, sizeof(audio_service_uuid.val)),
};

//
// State and Characteristics
//

struct bt_conn *current_connection = NULL;
uint16_t current_mtu = 0;
uint16_t current_package_index = 0;

static ssize_t audio_characteristic_read(struct bt_conn *conn, const struct bt_gatt_attr *attr, void *buf, uint16_t len, uint16_t offset)
{
    printk("audio_characteristic_read\n");
    return bt_gatt_attr_read(conn, attr, buf, len, offset, NULL, 0);
}

static ssize_t audio_characteristic_format_read(struct bt_conn *conn, const struct bt_gatt_attr *attr, void *buf, uint16_t len, uint16_t offset)
{
    printk("audio_characteristic_format_read\n");
    uint8_t value[1] = {CODEC_ID};
    return bt_gatt_attr_read(conn, attr, buf, len, offset, value, sizeof(value));
}

static ssize_t audio_characteristic_allowed_read(struct bt_conn *conn, const struct bt_gatt_attr *attr, void *buf, uint16_t len, uint16_t offset)
{
    printk("audio_characteristic_allowed_read\n");
    uint8_t value[1] = {(is_allowed ? 1 : 0)};
    return bt_gatt_attr_read(conn, attr, buf, len, offset, value, sizeof(value));
}

static ssize_t battery_characteristic_read(struct bt_conn *conn, const struct bt_gatt_attr *attr, void *buf, uint16_t len, uint16_t offset)
{
    printk("battery_characteristic_read\n");
    uint8_t value[1] = {battery_level};
    return bt_gatt_attr_read(conn, attr, buf, len, offset, &value, sizeof(value));
}

static void ccc_config_changed_handler(const struct bt_gatt_attr *attr, uint16_t value)
{
    if (value == BT_GATT_CCC_NOTIFY)
    {
        printk("Client subscribed for audio stream\n");
        connected += 1;
        if (connected == 1 && external_callbacks && external_callbacks->subscribed)
        {
            external_callbacks->subscribed();
        }
    }
    else if (value == 0)
    {
        printk("Client unsubscribed from audio stream\n");
        connected -= 1;
        if (connected == 0 && external_callbacks && external_callbacks->unsubscribed)
        {
            external_callbacks->unsubscribed();
        }
    }
    else
    {
        printk("Invalid CCC value: %u\n", value);
    }
}

static void battery_ccc_config_changed_handler(const struct bt_gatt_attr *attr, uint16_t value)
{
    if (value == BT_GATT_CCC_NOTIFY)
    {
        printk("Client subscribed for battery updates\n");
    }
    else if (value == 0)
    {
        printk("Client unsubscribed from battery updates\n");
    }
    else
    {
        printk("Invalid CCC value: %u\n", value);
    }
}

static void mute_ccc_config_changed_handler(const struct bt_gatt_attr *attr, uint16_t value)
{
    if (value == BT_GATT_CCC_NOTIFY)
    {
        printk("Client subscribed for mute updates\n");
    }
    else if (value == 0)
    {
        printk("Client unsubscribed from mute updates\n");
    }
    else
    {
        printk("Invalid CCC value: %u\n", value);
    }
}

//
// Connection Callbacks
//

static const char *phy2str(uint8_t phy)
{
    switch (phy)
    {
    case 0:
        return "No packets";
    case BT_GAP_LE_PHY_1M:
        return "LE 1M";
    case BT_GAP_LE_PHY_2M:
        return "LE 2M";
    case BT_GAP_LE_PHY_CODED:
        return "LE Coded";
    default:
        return "Unknown";
    }
}

static void _transport_connected(struct bt_conn *conn, uint8_t err)
{
    struct bt_conn_info info = {0};
    err = bt_conn_get_info(conn, &info);
    if (err)
    {
        printk("Failed to get connection info (err %d)\n", err);
        return;
    }

    // Configure preferences
    struct bt_conn_le_phy_param phy_param;
    phy_param.options = BT_CONN_LE_PHY_OPT_NONE;
    phy_param.pref_tx_phy = BT_GAP_LE_PHY_2M;
    phy_param.pref_rx_phy = BT_GAP_LE_PHY_1M;
    err = bt_conn_le_phy_update(conn, &phy_param);
    if (err)
    {
        printk("PHY update request failed (err %d)\n", err);
        return;
    }

    // Save connection
    current_connection = bt_conn_ref(conn);
    current_mtu = info.le.data_len->tx_max_len;
    printk("Connected\n");
    printk("Interval: %d, latency: %d, timeout: %d\n", info.le.interval, info.le.latency, info.le.timeout);
    printk("TX PHY %s, RX PHY %s\n", phy2str(info.le.phy->tx_phy), phy2str(info.le.phy->rx_phy));
    printk("LE data len updated: TX (len: %d time: %d) RX (len: %d time: %d)\n", info.le.data_len->tx_max_len, info.le.data_len->tx_max_time, info.le.data_len->rx_max_len, info.le.data_len->rx_max_time);
}

static void _transport_disconnected(struct bt_conn *conn, uint8_t err)
{
    printk("Disconnected\n");
    bt_conn_unref(conn);
    current_connection = NULL;
    current_mtu = 0;
}

static bool _le_param_req(struct bt_conn *conn, struct bt_le_conn_param *param)
{
    printk("Connection parameters update request received.\n");
    printk("Minimum interval: %d, Maximum interval: %d\n",
           param->interval_min, param->interval_max);
    printk("Latency: %d, Timeout: %d\n", param->latency, param->timeout);

    return false;
}

static void _le_param_updated(struct bt_conn *conn, uint16_t interval,
                              uint16_t latency, uint16_t timeout)
{
    printk("Connection parameters updated.\n"
           " interval: %d, latency: %d, timeout: %d\n",
           interval, latency, timeout);
}

static void _le_phy_updated(struct bt_conn *conn,
                            struct bt_conn_le_phy_info *param)
{
    printk("LE PHY updated: TX PHY %s, RX PHY %s\n",
           phy2str(param->tx_phy), phy2str(param->rx_phy));
}

static void _le_data_length_updated(struct bt_conn *conn,
                                    struct bt_conn_le_data_len_info *info)
{
    printk("LE data len updated: TX (len: %d time: %d)"
           " RX (len: %d time: %d)\n",
           info->tx_max_len,
           info->tx_max_time, info->rx_max_len, info->rx_max_time);
    current_mtu = info->tx_max_len;
}

static struct bt_conn_cb _callback_references = {
    .connected = _transport_connected,
    .disconnected = _transport_disconnected,
    .le_param_req = _le_param_req,
    .le_param_updated = _le_param_updated,
    .le_phy_updated = _le_phy_updated,
    .le_data_len_updated = _le_data_length_updated,
};

//
// Ring Buffer
//

#define NET_BUFFER_HEADER_SIZE 3
#define RING_BUFFER_HEADER_SIZE 2
static uint8_t tx_queue[NETWORK_RING_BUF_SIZE * (CODEC_OUTPUT_MAX_BYTES + RING_BUFFER_HEADER_SIZE)];
static uint8_t tx_buffer[CODEC_OUTPUT_MAX_BYTES + RING_BUFFER_HEADER_SIZE];
static uint8_t tx_buffer_2[CODEC_OUTPUT_MAX_BYTES + RING_BUFFER_HEADER_SIZE];
static uint32_t tx_buffer_size = 0;
static struct ring_buf ring_buf;

static bool write_to_tx_queue(uint8_t *data, size_t size)
{
    if (size > CODEC_OUTPUT_MAX_BYTES)
    {
        return false;
    }

    // Copy data (TODO: Avoid this copy)
    tx_buffer_2[0] = size & 0xFF;
    tx_buffer_2[1] = (size >> 8) & 0xFF;
    memcpy(tx_buffer_2 + RING_BUFFER_HEADER_SIZE, data, size);

    // Write to ring buffer
    int written = ring_buf_put(&ring_buf, tx_buffer_2, (CODEC_OUTPUT_MAX_BYTES + RING_BUFFER_HEADER_SIZE)); // It always fits completely or not at all
    if (written != CODEC_OUTPUT_MAX_BYTES + RING_BUFFER_HEADER_SIZE)
    {
        return false;
    }
    else
    {
        return true;
    }
}

static bool read_from_tx_queue()
{

    // Read from ring buffer
    // memset(tx_buffer, 0, sizeof(tx_buffer));
    tx_buffer_size = ring_buf_get(&ring_buf, tx_buffer, (CODEC_OUTPUT_MAX_BYTES + RING_BUFFER_HEADER_SIZE)); // It always fits completely or not at all
    if (tx_buffer_size != (CODEC_OUTPUT_MAX_BYTES + RING_BUFFER_HEADER_SIZE))
    {
        // printk("Failed to read from ring buffer %d\n", tx_buffer_size);
        return false;
    }

    // Adjust size
    tx_buffer_size = tx_buffer[0] + (tx_buffer[1] << 8);

    return true;
}

//
// Pusher
//

// Thread
K_THREAD_STACK_DEFINE(pusher_stack, 1024);
static struct k_thread pusher_thread;
static uint16_t packet_next_index = 0;
static uint8_t pusher_temp_data[CODEC_OUTPUT_MAX_BYTES + NET_BUFFER_HEADER_SIZE];

static bool push_to_gatt(struct bt_conn *conn)
{
    // Read data from ring buffer
    if (!read_from_tx_queue())
    {
        return false;
    }

    // Push each frame
    uint8_t *buffer = tx_buffer + RING_BUFFER_HEADER_SIZE;
    uint32_t offset = 0;
    uint8_t index = 0;
    while (offset < tx_buffer_size)
    {
        // Recombine packet
        uint32_t id = packet_next_index++;
        uint32_t packet_size = MIN(current_mtu - NET_BUFFER_HEADER_SIZE, tx_buffer_size - offset);
        pusher_temp_data[0] = id & 0xFF;
        pusher_temp_data[1] = (id >> 8) & 0xFF;
        pusher_temp_data[2] = index;
        memcpy(pusher_temp_data + NET_BUFFER_HEADER_SIZE, buffer + offset, packet_size);
        offset += packet_size;
        index++;

        while (true)
        {

            // Try send notification
            int err = bt_gatt_notify(conn, &audio_service.attrs[1], pusher_temp_data, packet_size + NET_BUFFER_HEADER_SIZE);

            // Log failure
            if (err)
            {
                printk("bt_gatt_notify failed (err %d)\n", err);
                printk("MTU: %d, packet_size: %d\n", current_mtu, packet_size + NET_BUFFER_HEADER_SIZE);
                k_sleep(K_MSEC(1));
            }

            // Try to send more data if possible
            if (err == -EAGAIN || err == -ENOMEM)
            {
                continue;
            }

            // Break if success
            break;
        }
    }

    return true;
}

void pusher(void)
{
    while (1)
    {

        //
        // Load current connection
        //

        struct bt_conn *conn = current_connection;
        bool use_gatt = true;
        if (conn)
        {
            conn = bt_conn_ref(conn);
        }
        bool valid = true;
        if (current_mtu < MINIMAL_PACKET_SIZE)
        {
            valid = false;
        }
        else if (!conn)
        {
            valid = false;
        }
        else
        {
            valid = bt_gatt_is_subscribed(conn, &audio_service.attrs[1], BT_GATT_CCC_NOTIFY); // Check if subscribed
        }

        // If no valid mode exists - discard whole buffer
        if (!valid)
        {
            ring_buf_reset(&ring_buf);
            k_sleep(K_MSEC(10));
        }

        // Handle GATT
        if (use_gatt && valid)
        {
            bool sent = push_to_gatt(conn);
            if (!sent)
            {
                k_sleep(K_MSEC(50));
            }
        }

        if (conn)
        {
            bt_conn_unref(conn);
        }
    }
}

//
// Public functions
//

int transport_start()
{

    // Configure callbacks
    bt_conn_cb_register(&_callback_references);

    // Enable Bluetooth
    int err = bt_enable(NULL);
    if (err)
    {
        printk("Bluetooth init failed (err %d)\n", err);
        return err;
    }
    printk("Bluetooth initialized\n");

    // Start advertising
    bt_gatt_service_register(&audio_service);
    bt_gatt_service_register(&bas_service);
    err = bt_le_adv_start(BT_LE_ADV_CONN, bt_ad, ARRAY_SIZE(bt_ad), bt_sd, ARRAY_SIZE(bt_sd));
    if (err)
    {
        printk("Advertising failed to start (err %d)\n", err);
        return err;
    }
    else
    {
        printk("Advertising successfully started\n");
    }

    // Start pusher
    ring_buf_init(&ring_buf, sizeof(tx_queue), tx_queue);
    k_thread_create(&pusher_thread, pusher_stack, K_THREAD_STACK_SIZEOF(pusher_stack), (k_thread_entry_t)pusher, NULL, NULL, NULL, K_PRIO_PREEMPT(7), 0, K_NO_WAIT);

    return 0;
}

struct bt_conn *get_current_connection()
{
    return current_connection;
}

int broadcast_audio_packets(uint8_t *buffer, size_t size)
{
    while (!write_to_tx_queue(buffer, size))
    {
        k_sleep(K_MSEC(1));
    }
    return 0;
}

void set_transport_callbacks(struct transport_cb *_callbacks)
{
    external_callbacks = _callbacks;
}

void set_allowed(bool allowed)
{
    if (is_allowed != allowed)
    {
        is_allowed = allowed;
        uint8_t value[1] = {(is_allowed ? 1 : 0)};
        bt_gatt_notify(NULL, &audio_service.attrs[6], &value, 1);
    }
}

void set_bt_batterylevel(uint8_t level)
{
    if (battery_level != level)
    {
        battery_level = level;
        bt_gatt_notify(NULL, &bas_service.attrs[1], &level, sizeof(level));
    }
}
```

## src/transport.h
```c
#pragma once
#include <zephyr/kernel.h>

int transport_start();
int broadcast_audio_packets(uint8_t *buffer, size_t size);
typedef void (*transport_subscribed_handler)();
typedef void (*transport_unsubscribed_handler)();
struct transport_cb
{
    void (*subscribed)();
    void (*unsubscribed)();
};
void set_transport_callbacks(struct transport_cb *_callbacks);
void set_allowed(bool allowed);
```

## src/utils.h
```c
#pragma once
#include <zephyr/logging/log.h>
#include <zephyr/bluetooth/gatt.h>

#define ASSERT_OK(result)                                          \
    if ((result) < 0)                                              \
    {                                                              \
        printk("Error at %s:%d:%d\n", __FILE__, __LINE__, result); \
        return (result);                                           \
    }

#define ASSERT_TRUE(result)                                        \
    if (!result)                                                   \
    {                                                              \
        printk("Error at %s:%d:%d\n", __FILE__, __LINE__, result); \
        return -1;                                                 \
    }
```
